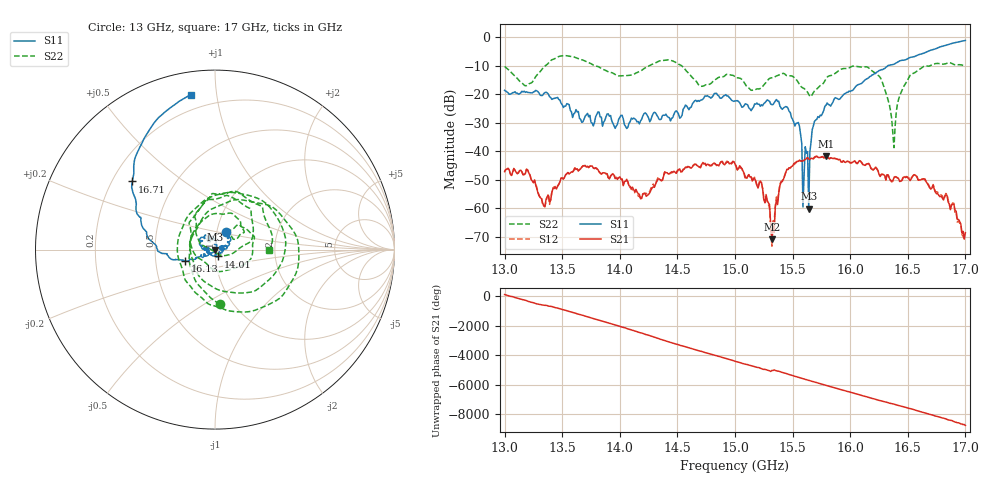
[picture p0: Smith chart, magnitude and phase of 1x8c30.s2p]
!Keysight Technologies,P9374A,MY57211807,A.19.30.04
!Date: Friday, May 08, 2026 15:10:16
!Correction: S11(C  2-Port  )
!S21(C  2-Port  )
!S12(C  2-Port  )
!S22(C  2-Port  )
!S2P File: Measurements: S11, S21, S12, S22:
# Hz S  dB  R 50
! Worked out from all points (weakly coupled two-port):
!   401 points, 13 GHz to 17 GHz, reference 50 ohm
!   highest |S21| = -41.79 dB at 15.79 GHz (marker M1); lowest = -71.0 dB at 15.32 GHz (marker M2)
!   lowest |S11| = -60.2 dB at 15.64 GHz (marker M3), VSWR 1.00, Z = 50 - j0.0929 ohm
!   |S11| at or under -10 dB: start of sweep to 16.33 GHz
!   |S22| runs from -38.8 to -6.5 dB; largest |S21 - S12| = 0.00044
!   S11 on the Smith chart (normalised r, x): 13 GHz: 1.11, +0.22; 14.01 GHz: 1.03, -0.08; 16.13 GHz: 0.71, -0.09; 16.71 GHz: 0.28, +0.33; 17 GHz: 0.12, +0.85
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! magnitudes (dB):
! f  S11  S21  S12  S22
! 13 GHz  -18.7  -47.2  -47.0  -10.3
! 13.19 GHz  -19.2  -46.4  -46.4  -17.0
! 13.35 GHz  -19.5  -59.5  -59.5  -10.2
! 13.67 GHz  -29.9  -45.7  -45.6  -7.9
! 14.01 GHz  -27.5  -49.9  -49.8  -13.6
! 14.18 GHz  -29.4  -56.7  -56.3  -11.9
! 14.34 GHz  -28.8  -49.7  -49.4  -8.4
! 14.71 GHz  -22.1  -44.7  -44.9  -17.3
! 15 GHz  -22.4  -44.5  -44.6  -13.9
! 15.22 GHz  -24.3  -50.5  -50.5  -18.0
! 15.32 GHz  -23.7  -71.0  -73.4  -14.3
! 15.45 GHz  -24.5  -46.5  -46.5  -13.5
! 15.6 GHz  -48.0  -43.3  -43.2  -18.1
! 15.64 GHz  -60.2  -42.8  -42.5  -20.1
! 15.67 GHz  -32.5  -42.6  -42.4  -20.2
! 15.79 GHz  -23.9  -41.8  -41.8  -14.6
! 16.13 GHz  -15.0  -45.0  -45.1  -10.4
! 16.34 GHz  -9.9  -49.5  -49.5  -23.7
! 16.38 GHz  -9.5  -49.4  -49.2  -38.8
! 16.5 GHz  -7.6  -49.3  -49.1  -14.9
! 16.71 GHz  -4.5  -52.9  -52.8  -9.7
! 17 GHz  -1.2  -68.6  -70.4  -10.4
